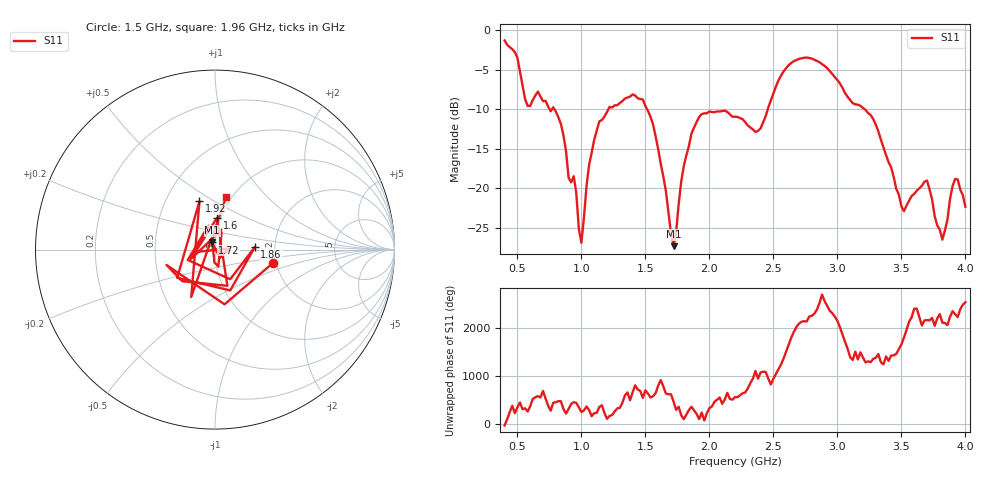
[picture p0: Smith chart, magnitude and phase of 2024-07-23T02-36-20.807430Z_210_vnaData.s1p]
!Created with skrf (http://scikit-rf.org).
# Hz S RI R 50.0
!freq ReS11 ImS11
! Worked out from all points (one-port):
!   181 points, 400 MHz to 4 GHz, reference 50 ohm
!   lowest |S11| = -27.3 dB at 1.72 GHz (marker M1), VSWR 1.09, Z = 48.2 + j3.86 ohm
!   |S11| at or under -10 dB: 789.9 MHz to 1.21 GHz (420.4 MHz wide, 42 % of centre); 1.514 GHz to 2.456 GHz (941.9 MHz wide, 47.5 % of centre); 3.215 GHz to end of sweep (the widest 3 of 4)
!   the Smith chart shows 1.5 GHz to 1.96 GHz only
!   S11 on the Smith chart (normalised r, x): 1.5 GHz: 1.92, -0.32; 1.6 GHz: 0.96, +0.35; 1.72 GHz: 0.96, +0.08; 1.86 GHz: 1.57, +0.05; 1.92 GHz: 0.73, +0.43; 1.96 GHz: 0.94, +0.60
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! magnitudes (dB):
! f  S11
! 400 MHz  -1.3
! 500 MHz  -3.5
! 580 MHz  -9.6
! 660 MHz  -7.8
! 860 MHz  -13.3
! 900 MHz  -18.6
! 940 MHz  -18.5
! 1 GHz  -26.9
! 1.1 GHz  -13.8
! 1.3 GHz  -9.2
! 1.5 GHz  -9.6
! 1.6 GHz  -15.0
! 1.72 GHz  -27.3
! 1.76 GHz  -22.0
! 1.86 GHz  -13.0
! 1.92 GHz  -11.0
! 1.96 GHz  -10.5
! 2.2 GHz  -10.9
! 2.38 GHz  -12.7
! 2.66 GHz  -3.9
! 3.1 GHz  -8.8
! 3.28 GHz  -11.2
! 3.5 GHz  -22.3
! 3.56 GHz  -21.5
! 3.7 GHz  -19.0
! 3.82 GHz  -26.5
! 3.92 GHz  -18.8
! 4 GHz  -22.3
